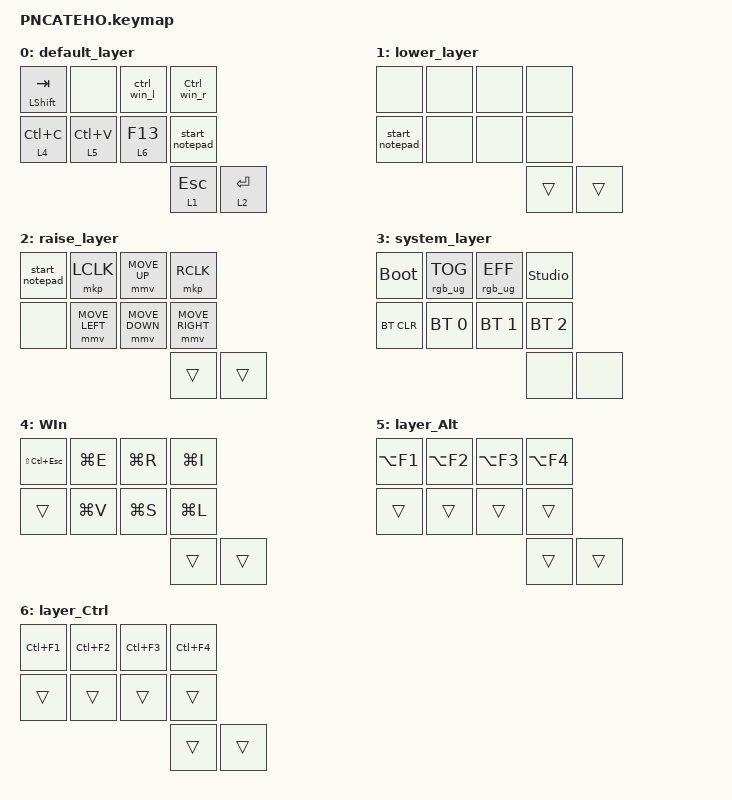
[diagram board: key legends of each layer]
#include <behaviors.dtsi>
#include <dt-bindings/zmk/bt.h>
#include <dt-bindings/zmk/keys.h>
#include <dt-bindings/zmk/pointing.h>
#include <dt-bindings/zmk/rgb.h>

/ {
    conditional_layers {
        compatible = "zmk,conditional-layers";

        sys_layer {
            if-layers = <1 2>;
            then-layer = <3>;
        };
    };
};

/ {
    combos {
        compatible = "zmk,combos";

        ctrl_win_r {
            bindings = <&Ctrl_win_r>;
            key-positions = <6 3>;
        };

        ctrl_win_l {
            bindings = <&ctrl_win_l>;
            key-positions = <2 7>;
        };

        previous_tab {
            bindings = <&kp LS(LC(TAB))>;
            key-positions = <0 1>;
        };

        next_tab {
            bindings = <&kp LC(TAB)>;
            key-positions = <3 2>;
        };

        close_the_tab {
            bindings = <&kp LC(W)>;
            key-positions = <1 2>;
        };

        new_tab {
            bindings = <&kp LC(T)>;
            key-positions = <0 3>;
        };

        closed_tab {
            bindings = <&kp LC(T)>;
            key-positions = <3 0 1>;
        };

        end_tab {
            bindings = <&kp LC(N9)>;
            key-positions = <3 2 0>;
        };

        win_R {
            bindings = <&kp LG(R)>;
            key-positions = <5 0>;
        };

        win_E {
            bindings = <&kp LG(E)>;
            key-positions = <4 1>;
        };
    };

    macros {
        Ctrl_win_r: Win_D_r {
            compatible = "zmk,behavior-macro";
            #binding-cells = <0>;
            bindings =
                <&macro_press>,
                <&kp LCTRL &kp LEFT_WIN &kp RIGHT>,
                <&macro_release>,
                <&kp LCTRL &kp LEFT_WIN &kp RIGHT>;

            label = "WIN_D_R";
        };

        ctrl_win_l: ctrl_win_l {
            compatible = "zmk,behavior-macro";
            #binding-cells = <0>;
            bindings =
                <&macro_press>,
                <&kp LCTRL &kp LEFT_WIN &kp LEFT>,
                <&macro_release>,
                <&kp LCTRL &kp LEFT_WIN &kp LEFT>;

            label = "CTRL_WIN_L";
        };

        start_notepad: start_notepad {
            compatible = "zmk,behavior-macro";
            #binding-cells = <0>;
            bindings =
                <&macro_press>,
                <&kp LEFT_WIN &kp S>,
                <&macro_release>,
                <&kp LEFT_WIN &kp S>,
                <&macro_tap>,
                <&kp LT &kp K &kp J &kp R &kp Y &kp J &kp N &kp ENTER>;

            label = "START_NOTEPAD";
        };
    };

    keymap {
        compatible = "zmk,keymap";

        default_layer {
            bindings = <
&mt LEFT_SHIFT TAB  &none        &ctrl_win_l  &Ctrl_win_r
&lt 4 LC(C)         &lt 5 LC(V)  &lt 6 F13    &start_notepad
                                              &lt 1 ESC       &lt 2 ENTER
            >;
        };

        lower_layer {
            bindings = <
&none           &none  &none  &none
&start_notepad  &none  &none  &none
                              &trans  &trans
            >;
        };

        raise_layer {
            bindings = <
&start_notepad  &mkp LCLK       &mmv MOVE_UP    &mkp RCLK
&none           &mmv MOVE_LEFT  &mmv MOVE_DOWN  &mmv MOVE_RIGHT
                                                &trans           &trans
            >;
        };

        system_layer {
            bindings = <
&bootloader  &rgb_ug RGB_TOG  &rgb_ug RGB_EFF  &studio_unlock
&bt BT_CLR   &bt BT_SEL 0     &bt BT_SEL 1     &bt BT_SEL 2
                                               &none           &none
            >;
        };

        WIn {
            bindings = <
&kp LS(LC(ESCAPE))  &kp LG(E)  &kp LG(R)  &kp LG(I)
&trans              &kp LG(V)  &kp LG(S)  &kp LG(L)
                                          &trans     &trans
            >;
        };

        layer_Alt {
            bindings = <
&kp LA(F1)  &kp LA(F2)  &kp LA(F3)  &kp LA(F4)
&trans      &trans      &trans      &trans
                                    &trans      &trans
            >;
        };

        layer_Ctrl {
            bindings = <
&kp LC(F1)  &kp LC(F2)  &kp LC(F3)  &kp LC(F4)
&trans      &trans      &trans      &trans
                                    &trans      &trans
            >;
        };
    };
};
